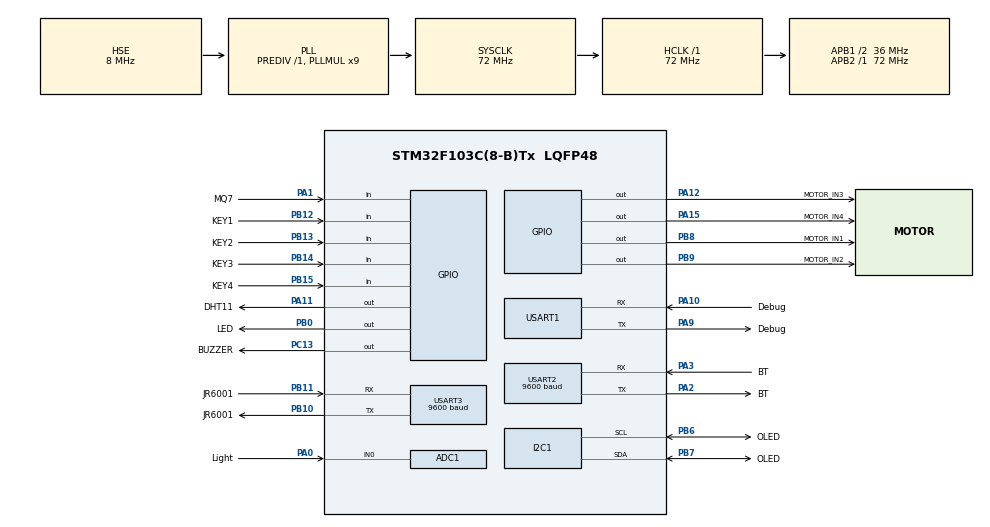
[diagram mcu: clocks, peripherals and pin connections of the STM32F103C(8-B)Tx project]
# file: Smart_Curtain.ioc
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ADC1.Channel-0\#ChannelRegularConversion=ADC_CHANNEL_0
ADC1.ContinuousConvMode=ENABLE
ADC1.NbrOfConversion=1
ADC1.NbrOfConversionFlag=1
ADC1.Rank-0\#ChannelRegularConversion=1
ADC1.SamplingTime-0\#ChannelRegularConversion=ADC_SAMPLETIME_55CYCLES_5
ADC1.master=1
Dma.ADC1.0.Direction=DMA_PERIPH_TO_MEMORY
Dma.ADC1.0.Instance=DMA1_Channel1
Dma.ADC1.0.MemDataAlignment=DMA_MDATAALIGN_HALFWORD
Dma.ADC1.0.MemInc=DMA_MINC_ENABLE
Dma.ADC1.0.Mode=DMA_CIRCULAR
Dma.ADC1.0.PeriphDataAlignment=DMA_PDATAALIGN_HALFWORD
Dma.ADC1.0.PeriphInc=DMA_PINC_DISABLE
Dma.ADC1.0.Priority=DMA_PRIORITY_LOW
Dma.Request0=ADC1
Dma.Request1=USART2_RX
Dma.USART2_RX.1.Direction=DMA_PERIPH_TO_MEMORY
Dma.USART2_RX.1.Instance=DMA1_Channel6
Dma.USART2_RX.1.MemDataAlignment=DMA_MDATAALIGN_BYTE
Dma.USART2_RX.1.MemInc=DMA_MINC_ENABLE
Dma.USART2_RX.1.Mode=DMA_NORMAL
Dma.USART2_RX.1.PeriphDataAlignment=DMA_PDATAALIGN_BYTE
Dma.USART2_RX.1.PeriphInc=DMA_PINC_DISABLE
Dma.USART2_RX.1.Priority=DMA_PRIORITY_HIGH
I2C1.I2C_Mode=I2C_Fast
IWDG.Prescaler=IWDG_PRESCALER_256
IWDG.Reload=625
Mcu.Family=STM32F1
Mcu.Name=STM32F103C(8-B)Tx
Mcu.Package=LQFP48
NVIC.DMA1_Channel1_IRQn=true\:0\:0\:false\:false\:true\:false\:true\:true
NVIC.DMA1_Channel6_IRQn=true\:0\:0\:false\:false\:true\:false\:true\:true
NVIC.PriorityGroup=NVIC_PRIORITYGROUP_4
NVIC.TIM2_IRQn=true\:0\:0\:false\:false\:true\:true\:true\:true
NVIC.USART2_IRQn=true\:0\:0\:false\:false\:true\:true\:true\:true
PA0-WKUP.GPIO_Label=Light
PA0-WKUP.Signal=ADCx_IN0
PA1.GPIO_Label=MQ7
PA1.GPIO_PuPd=GPIO_PULLUP
PA1.Signal=GPIO_Input
PA10.GPIO_Label=Debug
PA10.Mode=Asynchronous
PA10.Signal=USART1_RX
PA11.GPIO_Label=DHT11
PA11.GPIO_ModeDefaultOutputPP=GPIO_MODE_OUTPUT_OD
PA11.GPIO_PuPd=GPIO_PULLUP
PA11.Signal=GPIO_Output
PA12.GPIO_Label=MOTOR_IN3
PA12.Signal=GPIO_Output
PA13.Mode=Serial_Wire
PA13.Signal=SYS_JTMS-SWDIO
PA14.Mode=Serial_Wire
PA14.Signal=SYS_JTCK-SWCLK
PA15.GPIO_Label=MOTOR_IN4
PA15.Signal=GPIO_Output
PA2.GPIO_Label=BT
PA2.Mode=Asynchronous
PA2.Signal=USART2_TX
PA3.GPIO_Label=BT
PA3.Mode=Asynchronous
PA3.Signal=USART2_RX
PA9.GPIO_Label=Debug
PA9.Mode=Asynchronous
PA9.Signal=USART1_TX
PB0.GPIO_Label=LED
PB0.PinState=GPIO_PIN_SET
PB0.Signal=GPIO_Output
PB10.GPIO_Label=JR6001
PB10.Mode=Asynchronous
PB10.Signal=USART3_TX
PB11.GPIO_Label=JR6001
PB11.Mode=Asynchronous
PB11.Signal=USART3_RX
PB12.GPIO_Label=KEY1
PB12.GPIO_PuPd=GPIO_PULLUP
PB12.Signal=GPIO_Input
PB13.GPIO_Label=KEY2
PB13.GPIO_PuPd=GPIO_PULLUP
PB13.Signal=GPIO_Input
PB14.GPIO_Label=KEY3
PB14.GPIO_PuPd=GPIO_PULLUP
PB14.Signal=GPIO_Input
PB15.GPIO_Label=KEY4
PB15.GPIO_PuPd=GPIO_PULLUP
PB15.Signal=GPIO_Input
PB6.GPIO_Label=OLED
PB6.Mode=I2C
PB6.Signal=I2C1_SCL
PB7.GPIO_Label=OLED
PB7.Mode=I2C
PB7.Signal=I2C1_SDA
PB8.GPIO_Label=MOTOR_IN1
PB8.Signal=GPIO_Output
PB9.GPIO_Label=MOTOR_IN2
PB9.Signal=GPIO_Output
PC13-TAMPER-RTC.GPIO_Label=BUZZER
PC13-TAMPER-RTC.Signal=GPIO_Output
PD0-OSC_IN.Mode=HSE-External-Oscillator
PD0-OSC_IN.Signal=RCC_OSC_IN
PD1-OSC_OUT.Mode=HSE-External-Oscillator
PD1-OSC_OUT.Signal=RCC_OSC_OUT
ProjectManager.HeapSize=0x200
ProjectManager.StackSize=0x400
ProjectManager.TargetToolchain=MDK-ARM V5.32
RCC.ADCPresc=RCC_ADCPCLK2_DIV6
RCC.AHBFreq_Value=72000000
RCC.APB1CLKDivider=RCC_HCLK_DIV2
RCC.APB1Freq_Value=36000000
RCC.APB1TimFreq_Value=72000000
RCC.APB2Freq_Value=72000000
RCC.APB2TimFreq_Value=72000000
RCC.HCLKFreq_Value=72000000
RCC.PLLMUL=RCC_PLL_MUL9
RCC.PLLSourceVirtual=RCC_PLLSOURCE_HSE
RCC.SYSCLKFreq_VALUE=72000000
RCC.SYSCLKSource=RCC_SYSCLKSOURCE_PLLCLK
RCC.USBFreq_Value=72000000
SH.ADCx_IN0.0=ADC1_IN0,IN0
TIM2.Period=999
TIM2.Prescaler=71
USART1.VirtualMode=VM_ASYNC
USART2.BaudRate=9600
USART2.VirtualMode=VM_ASYNC
USART3.BaudRate=9600
USART3.VirtualMode=VM_ASYNC
VP_IWDG_VS_IWDG.Mode=IWDG_Activate
VP_TIM2_VS_ClockSourceINT.Mode=Internal
board=custom

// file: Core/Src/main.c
/* USER CODE BEGIN Header */
/**
  ******************************************************************************
  * @file           : main.c
  * @brief          : Main program body
  ******************************************************************************
  * @attention
  *
  * Copyright (c) 2026 STMicroelectronics.
  * All rights reserved.
  *
  * This software is licensed under terms that can be found in the LICENSE file
  * in the root directory of this software component.
  * If no LICENSE file comes with this software, it is provided AS-IS.
  *
  ******************************************************************************
  */
/* USER CODE END Header */
#include "main.h"
#include "adc.h"
#include "dma.h"
#include "i2c.h"
#include "iwdg.h"
#include "tim.h"
#include "usart.h"
#include "gpio.h"

/* USER CODE BEGIN Includes */
#include <stdio.h>
#include <string.h>
#include "bsp_dht11.h"
#include "bsp_key.h"
#include "bsp_motor.h"
#include "bsp_oled.h"
#include "menu.h"
#include "bsp_led.h"
#include "bsp_beep.h"
#include "bsp_jr6001.h"
#include "sensor.h"
#include "soft_time.h"
#include "event.h"
#include "bsp_bt.h"
/* USER CODE END Includes */

/* USER CODE BEGIN PV */
//系统环境状态
SysStatus_t Sys_Context = {
  .mode = MODE_MANUAL,
  .curtainState = OPENED,
  .luxState = LUX_HIGH,
  .coState = CO_LOW,
  .openHour = 0,
  .closeHour = 0,
  .focus = FOCUS_NONE
};
FSMState_t Global_State = FSM_IDLE_MANUAL;//有限状态机状态
extern uint8_t g_setting_hour;     // 当前设置的小时值(定义在menu.c)
TempTime_t g_temp_time = {0, 0}; // 系统时间设置临时变量
SoftTime_t current_time = {0, 0, 0}; // 当前系统时间

Event_t evt = {.type = EVT_NONE, .param = 0};

// 计数器与标志位
uint32_t key_scan_tick = 0;
uint32_t led_tick = 0;
uint32_t time_ctrl_tick = 0;
uint32_t sensor_tick = 0;
uint32_t bt_tick = 0;
uint8_t sensorscan_flag = 0;
/* USER CODE END PV */

void SystemClock_Config(void);
/* USER CODE BEGIN PFP */
void Handle_Idle_Lux(Event_t *evt);//处理空闲状态事件(光照模式)
void Handle_Idle_Tim(Event_t *evt);//处理空闲状态事件(时间模式)
void Handle_Idle_Manual(Event_t *evt);//处理空闲状态事件(手动模式)
void Handle_Opening(Event_t *evt);//处理打开状态事件
void Handle_Closing(Event_t *evt);//处理关闭状态事件
void Handle_SetOpenTime(Event_t *evt);//处理设置打开时间状态事件
void Handle_SetCloseTime(Event_t *evt);//处理设置关闭时间状态事件
void Handle_SetSystemTime(Event_t *evt);//处理设置系统时间状态事件
void Handle_Error(Event_t *evt);//处理错误状态事件

/* USER CODE END PFP */

/* USER CODE BEGIN 0 */
void Mode_Change(void)
{
  if(Sys_Context.mode == MODE_AUTO_LUX)
  {
    Sys_Context.mode = MODE_AUTO_TIM;
    Global_State = FSM_IDLE_TIM;
  }
  else if(Sys_Context.mode == MODE_AUTO_TIM)
  {
    Sys_Context.mode = MODE_MANUAL;
    Global_State = FSM_IDLE_MANUAL;
  }
  else if(Sys_Context.mode == MODE_MANUAL)
  {
    Sys_Context.mode = MODE_AUTO_LUX;
    Global_State = FSM_IDLE_LUX;
  }
}
void Curtain_Open(void)
{
    Global_State = FSM_OPENING;
    Sys_Context.curtainState = OPENING;
    Motor_Rotate_Angle(MOTOR_CW, 360);
    JR6001_Play(2);
}
void Curtain_Close(void)
{
    Global_State = FSM_CLOSING;
    Sys_Context.curtainState = CLOSING;
    Motor_Rotate_Angle(MOTOR_CCW, 360);
    JR6001_Play(3);
}
void Enter_OpenTime_Setting(void)
{
  Global_State = FSM_SET_OPEN_TIME;
  g_setting_hour = Sys_Context.openHour;
  Sys_Context.focus = FOCUS_OPEN_TIME;
}
void Enter_CloseTime_Setting(void)
{
  Global_State = FSM_SET_CLOSE_TIME;
  g_setting_hour = Sys_Context.closeHour;
  Sys_Context.focus = FOCUS_CLOSE_TIME;
}
void Enter_SystemTime_Setting(void)
{
  Global_State = FSM_SET_SYSTEM_TIME;
  Sys_Context.focus = FOCUS_HOUR;
}
/**
 * @brief  按键映射表
 * @param  key 按键代码
 * @param  mode 当前模式
 * @retval 用户命令枚举值
 */
UserCMD_t Map_Key_To_Cmd(uint8_t key, uint8_t mode)
{
  if(mode == MODE_AUTO_LUX)
  {
    switch(key)
    {
      case KEY_1: return CMD_MODE;
      default:    return CMD_NONE;
    }
  }
  else if(mode == MODE_AUTO_TIM)
  {
    switch(key)
    {
      case KEY_1: return CMD_MODE;
      case KEY_2: return CMD_INC;
      case KEY_3: return CMD_DEC;
      case KEY_4: return CMD_ENTER;
      default:    return CMD_NONE;
    }
  }
  else if(mode == MODE_MANUAL)
  {
    switch(key)
    {
      case KEY_1: return CMD_MODE;
      case KEY_2: return CMD_OPEN;
      case KEY_3: return CMD_CLOSE;
      case KEY_4: return CMD_SET_TIME;
      default:    return CMD_NONE;
    }
  }
  else
  {
    return CMD_NONE;
  }
}

/**
 * @brief  系统事件分发
 * @param  evt 事件指针
 * @retval None
 */
void System_Dispatch(Event_t *evt)
{
  //应急处理CO传感器事件
  if(evt->type == EVT_SENSOR_CO && evt->param == 1)
  {
    Sys_Context.coState = CO_HIGH;
    Beep_Start();
    if(Sys_Context.curtainState != OPENED && Global_State != FSM_OPENING)
    {
      Curtain_Open();
      return;
    }
  }
  // 处理蓝牙事件
  if(evt->type == EVT_BT_CMD)
  {
    BT_CmdPacket_t packet;
    packet.cmd = (BT_Command_t)(evt->param & 0xFF);
    packet.param[0]  = (evt->param >> 8)  & 0xFF;
    packet.param[1]  = (evt->param >> 16) & 0xFF;
    packet.param[2]  = (evt->param >> 24) & 0xFF;
    BT_ExecuteCommand(&packet);
    return;
  }

  //常规事件分发
  switch (Global_State)
  {
    case FSM_IDLE_LUX:        Handle_Idle_Lux(evt);     break;
    case FSM_IDLE_TIM:        Handle_Idle_Tim(evt);     break;
    case FSM_IDLE_MANUAL:     Handle_Idle_Manual(evt);  break;
    case FSM_OPENING:         Handle_Opening(evt);      break;
    case FSM_CLOSING:         Handle_Closing(evt);      break;
    case FSM_SET_OPEN_TIME:   Handle_SetOpenTime(evt);  break;
    case FSM_SET_CLOSE_TIME:  Handle_SetCloseTime(evt); break;
    case FSM_SET_SYSTEM_TIME: Handle_SetSystemTime(evt);break;
    case FSM_ERROR:           Handle_Error(evt);        break;
    default: break;
  }
}

void Handle_Idle_Lux(Event_t *evt)
{
  UserCMD_t cmd;
  switch(evt->type)
  {
    case EVT_KEY_PRESS:
      cmd = Map_Key_To_Cmd(evt->param, Sys_Context.mode);
      switch(cmd)
      {
        case CMD_MODE: Mode_Change(); break;
        default: break;
      }
      break;
    case EVT_SENSOR_LIGHT:
      if(evt->param == 1)
      {
        Sys_Context.luxState = LUX_HIGH;
        if(Sys_Context.curtainState == CLOSED)
        {
          Curtain_Open();
        }
      }
      else
      {
        Sys_Context.luxState = LUX_LOW;
        if(Sys_Context.curtainState == OPENED)
        {
          Curtain_Close();
        }
      }
      break;
  }
}

void Handle_Idle_Tim(Event_t *evt)
{
  UserCMD_t cmd;
  switch(evt->type)
  {
    case EVT_KEY_PRESS:
      cmd = Map_Key_To_Cmd(evt->param, Sys_Context.mode);
      switch(cmd)
      {
        case CMD_MODE: Mode_Change(); break;
        case CMD_ENTER: // KEY4进入设置打开时间
          Enter_OpenTime_Setting();
          break;
        default: break;
      }
      break;
    case EVT_TIMER_CTRL:
      if(evt->param == 1)
      {
        if(Sys_Context.curtainState == CLOSED)
        {
          Curtain_Open();
        }
      }
      else
      {
        if(Sys_Context.curtainState == OPENED)
        {
          Curtain_Close();
        }
      }
      break;
  }
}

void Handle_Idle_Manual(Event_t *evt)
{
  UserCMD_t cmd;
  switch (evt->type)
  {
    case EVT_KEY_PRESS:
      cmd = Map_Key_To_Cmd(evt->param, Sys_Context.mode);
      switch (cmd)
      {
        case CMD_MODE:  Mode_Change();   break;
        case CMD_OPEN:
          if(Sys_Context.curtainState == CLOSED)
          {
            Curtain_Open();
          }
          break;
        case CMD_CLOSE:
          if(Sys_Context.curtainState == OPENED)
          {
            Curtain_Close();
          }
          break;
        case CMD_SET_TIME:
          SoftTime_Get(&current_time);
          g_temp_time.hour = current_time.hour;
          g_temp_time.min = current_time.min;
          Enter_SystemTime_Setting();
          break;
        default:
          break;
      }
      break;
  }
}

void Handle_Opening(Event_t *evt)
{
  switch (evt->type)
  {
    case EVT_MOTOR_STATE:
      if(evt->param == 0)
      {
        Sys_Context.curtainState = OPENED;
        if(Sys_Context.mode == MODE_AUTO_LUX)
          Global_State = FSM_IDLE_LUX;
        else if(Sys_Context.mode == MODE_AUTO_TIM)
          Global_State = FSM_IDLE_TIM;
        else
          Global_State = FSM_IDLE_MANUAL;
      }
    break;
  }
}

void Handle_Closing(Event_t *evt)
{
  switch (evt->type)
  {
    case EVT_MOTOR_STATE:
      if(evt->param == 0)
      {
        Sys_Context.curtainState = CLOSED;
        if(Sys_Context.mode == MODE_AUTO_LUX)
          Global_State = FSM_IDLE_LUX;
        else if(Sys_Context.mode == MODE_AUTO_TIM)
          Global_State = FSM_IDLE_TIM;
        else
          Global_State = FSM_IDLE_MANUAL;
      }
    break;
  }
}

void Handle_SetOpenTime(Event_t *evt)
{
  UserCMD_t cmd;
  switch(evt->type)
  {
    case EVT_KEY_PRESS:
      cmd = Map_Key_To_Cmd(evt->param, Sys_Context.mode);
      switch(cmd)
      {
        case CMD_INC:  // KEY2增加小时
          if(g_setting_hour < 23)
            g_setting_hour++;
          else
            g_setting_hour = 0;
          break;
        case CMD_DEC:  // KEY3减少小时
          if(g_setting_hour > 0)
            g_setting_hour--;
          else
            g_setting_hour = 23;
          break;
        case CMD_ENTER:  // KEY4确认，进入设置关闭时间
          Sys_Context.openHour = g_setting_hour;
          Enter_CloseTime_Setting();
          break;
        default: break;
      }
      break;
  }
}

void Handle_SetCloseTime(Event_t *evt)
{
  UserCMD_t cmd;
  switch(evt->type)
  {
    case EVT_KEY_PRESS:
      cmd = Map_Key_To_Cmd(evt->param, Sys_Context.mode);
      switch(cmd)
      {
        case CMD_INC:  // KEY2增加小时
          if(g_setting_hour < 23)
            g_setting_hour++;
          else
            g_setting_hour = 0;
          break;
        case CMD_DEC:  // KEY3减少小时
          if(g_setting_hour > 0)
            g_setting_hour--;
          else
            g_setting_hour = 23;
          break;
        case CMD_ENTER:  // KEY4确认，返回空闲态
          Sys_Context.closeHour = g_setting_hour;
          Global_State = FSM_IDLE_TIM;
          Sys_Context.focus = FOCUS_NONE;
          break;
        default: break;
      }
      break;
  }
}

void Handle_SetSystemTime(Event_t *evt)
{
  UserCMD_t cmd;

  switch(evt->type)
  {
    case EVT_KEY_PRESS:
      cmd = Map_Key_To_Cmd(evt->param, Sys_Context.mode);
      switch(cmd)
      {
        case CMD_OPEN:
          if(Sys_Context.focus == FOCUS_HOUR)
          {
            if(g_temp_time.hour < 23)
              g_temp_time.hour++;
            else
              g_temp_time.hour = 0;
          }
          else if(Sys_Context.focus == FOCUS_MIN)
          {
            if(g_temp_time.min < 59)
              g_temp_time.min++;
            else
              g_temp_time.min = 0;
          }
          break;

        case CMD_CLOSE:
          if(Sys_Context.focus == FOCUS_HOUR)
          {
            if(g_temp_time.hour > 0)
              g_temp_time.hour--;
            else
              g_temp_time.hour = 23;
          }
          else if(Sys_Context.focus == FOCUS_MIN)
          {
            if(g_temp_time.min > 0)
              g_temp_time.min--;
            else
              g_temp_time.min = 59;
          }
          break;

        case CMD_SET_TIME:
          if(Sys_Context.focus == FOCUS_HOUR)
          {
            Sys_Context.focus = FOCUS_MIN;
          }
          else if(Sys_Context.focus == FOCUS_MIN)
          {
            SoftTime_Set(g_temp_time.hour, g_temp_time.min, 0);
            Global_State = FSM_IDLE_MANUAL;
            Sys_Context.focus = FOCUS_NONE;
          }
          break;

        default: break;
      }
      break;
  }
}

void Handle_Error(Event_t *evt)
{
  switch (evt->type)
  {
    case EVT_KEY_PRESS:
      if(Map_Key_To_Cmd(evt->param, Sys_Context.mode) == CMD_MODE)
      {
        Global_State = FSM_IDLE_TIM;
        Sys_Context.focus = FOCUS_NONE;
      }
      break;
  }
}
/* USER CODE END 0 */

int main(void)
{

  /* MCU Configuration--------------------------------------------------------*/

  /* Reset of all peripherals, Initializes the Flash interface and the Systick. */
  HAL_Init();

  /* Configure the system clock */
  SystemClock_Config();

  /* Initialize all configured peripherals */
  MX_GPIO_Init();
  MX_DMA_Init();
  MX_ADC1_Init();
  MX_I2C1_Init();
  MX_USART1_UART_Init();
  MX_USART2_UART_Init();
  MX_USART3_UART_Init();
  MX_TIM2_Init();
  MX_IWDG_Init();
  /* USER CODE BEGIN 2 */

  /*初始化*/
  Event_Init();//初始化事件
  LED_Init();
  DHT11_Init();
  OLED_Init();
  Key_Init();
  Beep_Init();
  Light_Init();
  MQ7_Init();
  JR6001_Init();
  BT_Init();
  SoftTime_Init(0, 0, 0);
  Sys_Context.openHour = 8;    // 默认打开时间8点
  Sys_Context.closeHour = 18;  // 默认关闭时间18点
  SensorScan();

  /* 开启定时器2中断,频率1kHz */
  HAL_TIM_Base_Start_IT(&htim2);

  /* USER CODE END 2 */

  /* Infinite loop */
  /* USER CODE BEGIN WHILE */
  while (1)
  {
    UI_Update();//刷新显示

    evt = Event_Dequeue();
    if(evt.type != EVT_NONE)
    {
      System_Dispatch(&evt);
    }

    if (sensorscan_flag)
    {
      sensorscan_flag = 0;
      SensorScan();//扫描传感器数据
    }

    BT_Process();//处理蓝牙数据

    HAL_IWDG_Refresh(&hiwdg);

    /* USER CODE END WHILE */

  }
}

void SystemClock_Config(void)
{
  RCC_OscInitTypeDef RCC_OscInitStruct = {0};
  RCC_ClkInitTypeDef RCC_ClkInitStruct = {0};
  RCC_PeriphCLKInitTypeDef PeriphClkInit = {0};

  /** Initializes the RCC Oscillators according to the specified parameters
  * in the RCC_OscInitTypeDef structure.
  */
  RCC_OscInitStruct.OscillatorType = RCC_OSCILLATORTYPE_LSI|RCC_OSCILLATORTYPE_HSE;
  RCC_OscInitStruct.HSEState = RCC_HSE_ON;
  RCC_OscInitStruct.HSEPredivValue = RCC_HSE_PREDIV_DIV1;
  RCC_OscInitStruct.HSIState = RCC_HSI_ON;
  RCC_OscInitStruct.LSIState = RCC_LSI_ON;
  RCC_OscInitStruct.PLL.PLLState = RCC_PLL_ON;
  RCC_OscInitStruct.PLL.PLLSource = RCC_PLLSOURCE_HSE;
  RCC_OscInitStruct.PLL.PLLMUL = RCC_PLL_MUL9;
  if (HAL_RCC_OscConfig(&RCC_OscInitStruct) != HAL_OK)
  {
    Error_Handler();
  }

  /** Initializes the CPU, AHB and APB buses clocks
  */
  RCC_ClkInitStruct.ClockType = RCC_CLOCKTYPE_HCLK|RCC_CLOCKTYPE_SYSCLK
                              |RCC_CLOCKTYPE_PCLK1|RCC_CLOCKTYPE_PCLK2;
  RCC_ClkInitStruct.SYSCLKSource = RCC_SYSCLKSOURCE_PLLCLK;
  RCC_ClkInitStruct.AHBCLKDivider = RCC_SYSCLK_DIV1;
  RCC_ClkInitStruct.APB1CLKDivider = RCC_HCLK_DIV2;
  RCC_ClkInitStruct.APB2CLKDivider = RCC_HCLK_DIV1;

  if (HAL_RCC_ClockConfig(&RCC_ClkInitStruct, FLASH_LATENCY_2) != HAL_OK)
  {
    Error_Handler();
  }
  PeriphClkInit.PeriphClockSelection = RCC_PERIPHCLK_ADC;
  PeriphClkInit.AdcClockSelection = RCC_ADCPCLK2_DIV6;
  if (HAL_RCCEx_PeriphCLKConfig(&PeriphClkInit) != HAL_OK)
  {
    Error_Handler();
  }
}

/* USER CODE BEGIN 4 */
/**
 * @brief  定时器更新中断回调函数
 * @param  htim: 定时器句柄
 */
void HAL_TIM_PeriodElapsedCallback(TIM_HandleTypeDef *htim)//定时器更新中断回调函数
{
  /* 检查是否是TIM2触发的中断 */
  if (htim->Instance == TIM2)
  {
    SoftTime_Tick_1ms();//软件定时器1ms tick

    key_scan_tick++;
    if (key_scan_tick >= KEY_SCAN_INTERVAL)
    {
      key_scan_tick = 0;
      Key_Scan();
    }

    led_tick++;
    if (led_tick >= LED_TOGGLE_INTERVAL)
    {
      led_tick = 0;
      LED_Toggle();
    }

    time_ctrl_tick++;
    if (time_ctrl_tick >= SOFT_TIME_INTERVAL)
    {
      time_ctrl_tick = 0;
      SoftTime_CTRL();
    }

    sensor_tick++;
    if (sensor_tick >= SENSOR_SCAN_INTERVAL)
    {
      sensor_tick = 0;
      sensorscan_flag = 1;
    }

    MotorStep_Process();
    Beep_Process();
  }
}
/* USER CODE END 4 */

void Error_Handler(void)
{
  __disable_irq();
  while (1)
  {
  }
}
